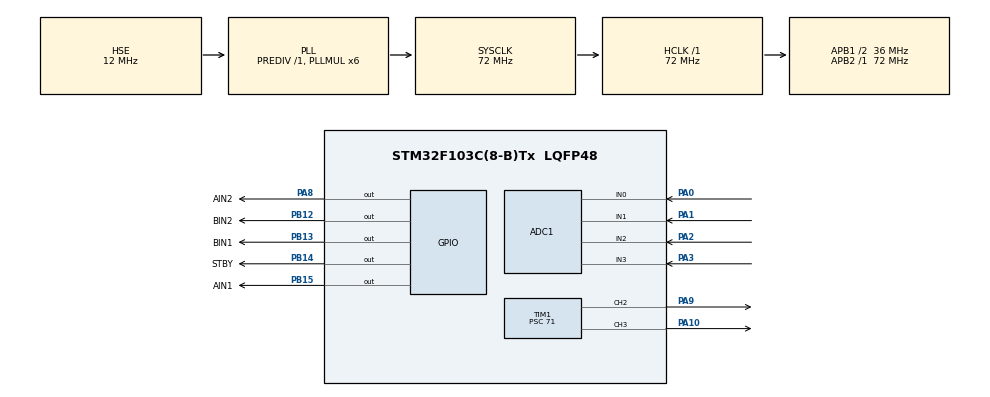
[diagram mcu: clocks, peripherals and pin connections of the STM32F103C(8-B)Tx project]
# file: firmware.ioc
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ADC1.Channel-2\#ChannelRegularConversion=ADC_CHANNEL_0
ADC1.Channel-3\#ChannelRegularConversion=ADC_CHANNEL_1
ADC1.Channel-4\#ChannelRegularConversion=ADC_CHANNEL_2
ADC1.Channel-5\#ChannelRegularConversion=ADC_CHANNEL_3
ADC1.ContinuousConvMode=DISABLE
ADC1.EnableRegularConversion=ENABLE
ADC1.NbrOfConversion=4
ADC1.NbrOfConversionFlag=1
ADC1.Rank-2\#ChannelRegularConversion=1
ADC1.Rank-3\#ChannelRegularConversion=2
ADC1.Rank-4\#ChannelRegularConversion=3
ADC1.Rank-5\#ChannelRegularConversion=4
ADC1.SamplingTime-2\#ChannelRegularConversion=ADC_SAMPLETIME_239CYCLES_5
ADC1.SamplingTime-3\#ChannelRegularConversion=ADC_SAMPLETIME_239CYCLES_5
ADC1.SamplingTime-4\#ChannelRegularConversion=ADC_SAMPLETIME_239CYCLES_5
ADC1.SamplingTime-5\#ChannelRegularConversion=ADC_SAMPLETIME_239CYCLES_5
ADC1.master=1
Dma.ADC1.0.Direction=DMA_PERIPH_TO_MEMORY
Dma.ADC1.0.Instance=DMA1_Channel1
Dma.ADC1.0.MemDataAlignment=DMA_MDATAALIGN_HALFWORD
Dma.ADC1.0.MemInc=DMA_MINC_ENABLE
Dma.ADC1.0.Mode=DMA_NORMAL
Dma.ADC1.0.PeriphDataAlignment=DMA_PDATAALIGN_HALFWORD
Dma.ADC1.0.PeriphInc=DMA_PINC_DISABLE
Dma.ADC1.0.Priority=DMA_PRIORITY_LOW
Dma.Request0=ADC1
Mcu.Family=STM32F1
Mcu.Name=STM32F103C(8-B)Tx
Mcu.Package=LQFP48
NVIC.DMA1_Channel1_IRQn=true\:0\:0\:false\:false\:true\:false\:true\:true
NVIC.PriorityGroup=NVIC_PRIORITYGROUP_4
PA0-WKUP.Signal=ADCx_IN0
PA1.Signal=ADCx_IN1
PA10.Signal=S_TIM1_CH3
PA13.Mode=Serial_Wire
PA13.Signal=SYS_JTMS-SWDIO
PA14.Mode=Serial_Wire
PA14.Signal=SYS_JTCK-SWCLK
PA2.Signal=ADCx_IN2
PA3.Signal=ADCx_IN3
PA8.GPIO_Label=AIN2
PA8.Signal=GPIO_Output
PA9.Signal=S_TIM1_CH2
PB12.GPIO_Label=BIN2
PB12.Signal=GPIO_Output
PB13.GPIO_Label=BIN1
PB13.Signal=GPIO_Output
PB14.GPIO_Label=STBY
PB14.Signal=GPIO_Output
PB15.GPIO_Label=AIN1
PB15.Signal=GPIO_Output
PD0-OSC_IN.Mode=HSE-External-Oscillator
PD0-OSC_IN.Signal=RCC_OSC_IN
PD1-OSC_OUT.Mode=HSE-External-Oscillator
PD1-OSC_OUT.Signal=RCC_OSC_OUT
ProjectManager.HeapSize=0x200
ProjectManager.StackSize=0x400
ProjectManager.TargetToolchain=Makefile
RCC.ADCPresc=RCC_ADCPCLK2_DIV8
RCC.AHBFreq_Value=72000000
RCC.APB1CLKDivider=RCC_HCLK_DIV2
RCC.APB1Freq_Value=36000000
RCC.APB1TimFreq_Value=72000000
RCC.APB2Freq_Value=72000000
RCC.APB2TimFreq_Value=72000000
RCC.HCLKFreq_Value=72000000
RCC.HSE_VALUE=12000000
RCC.PLLMUL=RCC_PLL_MUL6
RCC.PLLSourceVirtual=RCC_PLLSOURCE_HSE
RCC.SYSCLKFreq_VALUE=72000000
RCC.SYSCLKSource=RCC_SYSCLKSOURCE_PLLCLK
RCC.USBFreq_Value=48000000
RCC.USBPrescaler=RCC_USBCLKSOURCE_PLL_DIV1_5
SH.ADCx_IN0.0=ADC1_IN0,IN0
SH.ADCx_IN1.0=ADC1_IN1,IN1
SH.ADCx_IN2.0=ADC1_IN2,IN2
SH.ADCx_IN3.0=ADC1_IN3,IN3
SH.S_TIM1_CH2.0=TIM1_CH2,PWM Generation2 CH2
SH.S_TIM1_CH3.0=TIM1_CH3,PWM Generation3 CH3
TIM1.Channel-PWM\ Generation2\ CH2=TIM_CHANNEL_2
TIM1.Channel-PWM\ Generation3\ CH3=TIM_CHANNEL_3
TIM1.Period=999
TIM1.Prescaler=71
VP_ADC1_Vref_Input.Mode=IN-Vrefint
board=custom

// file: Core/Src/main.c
/* USER CODE BEGIN Header */
/**
  ******************************************************************************
  * @file           : main.c
  * @brief          : Main program body
  ******************************************************************************
  * @attention
  *
  * <h2><center>&copy; Copyright (c) 2024 STMicroelectronics.
  * All rights reserved.</center></h2>
  *
  * This software component is licensed by ST under BSD 3-Clause license,
  * the "License"; You may not use this file except in compliance with the
  * License. You may obtain a copy of the License at:
  *                        opensource.org/licenses/BSD-3-Clause
  *
  ******************************************************************************
  */
/* USER CODE END Header */
#include "main.h"
#include "adc.h"
#include "dma.h"
#include "tim.h"
#include "gpio.h"

/* USER CODE BEGIN Includes */
#include "pid.h"
/* USER CODE END Includes */

/* USER CODE BEGIN PTD */
uint16_t sen_raw[4];//光敏电阻ADC采样的数值放在该数组里
/* USER CODE END PTD */

/* USER CODE BEGIN PD */
#define AIN1_set() HAL_GPIO_WritePin(AIN1_GPIO_Port,AIN1_Pin,GPIO_PIN_SET)
#define AIN2_set() HAL_GPIO_WritePin(AIN2_GPIO_Port,AIN2_Pin,GPIO_PIN_SET)
#define BIN1_set() HAL_GPIO_WritePin(BIN1_GPIO_Port,BIN1_Pin,GPIO_PIN_SET)
#define BIN2_set() HAL_GPIO_WritePin(BIN1_GPIO_Port,BIN2_Pin,GPIO_PIN_SET)
#define AIN1_clr() HAL_GPIO_WritePin(AIN1_GPIO_Port,AIN1_Pin,GPIO_PIN_RESET)
#define AIN2_clr() HAL_GPIO_WritePin(AIN2_GPIO_Port,AIN2_Pin,GPIO_PIN_RESET)
#define BIN1_clr() HAL_GPIO_WritePin(BIN1_GPIO_Port,BIN1_Pin,GPIO_PIN_RESET)
#define BIN2_clr() HAL_GPIO_WritePin(BIN1_GPIO_Port,BIN2_Pin,GPIO_PIN_RESET)

#define TimerMaxCount 1000
/* USER CODE END PD */

void SystemClock_Config(void);

/* USER CODE BEGIN 0 */
//========================================================================
// 函数:
// 描述: 电机控制函数
// 参数: None.
// 返回: None.
//========================================================================
void motor_ctl(int16_t spd,uint8_t motorid)
{
  if (spd > TimerMaxCount) //限制最大速度
  {
    spd = TimerMaxCount;
  }

  switch (motorid)//选择哪个电机动作
  {
  case 0://俯仰电机
    if (spd < 0)
    {
      AIN1_set();//电机正转
      AIN2_clr();
    }
    else
    {
      AIN1_clr();//电机反转
      AIN2_set();
    }
    __HAL_TIM_SetCompare(&htim1,TIM_CHANNEL_2,spd);//设置电机PWM占空比
    break;
  case 1://方向电机
    if (spd < 0)
    {
      BIN1_set();//电机正转
      BIN2_clr();
    }
    else
    {
      BIN1_clr();//电机反转
      BIN2_set();
    }
    __HAL_TIM_SetCompare(&htim1,TIM_CHANNEL_3,spd);//设置电机PWM占空比
    break;
  default:
    break;
  }
}
/* USER CODE END 0 */

int main(void)
{

  /* MCU Configuration--------------------------------------------------------*/

  /* Reset of all peripherals, Initializes the Flash interface and the Systick. */
  HAL_Init();

  /* Configure the system clock */
  SystemClock_Config();

  /* Initialize all configured peripherals */
  MX_GPIO_Init();
  MX_DMA_Init();
  MX_ADC1_Init();
  MX_TIM1_Init();
  /* USER CODE BEGIN 2 */
  //启动ADC校准
  HAL_ADCEx_Calibration_Start(&hadc1);
  //设置PWM和定时器
	__HAL_TIM_SetAutoreload(&htim1,TimerMaxCount);
	__HAL_TIM_PRESCALER(&htim1,7);

	__HAL_TIM_SetCompare(&htim1,TIM_CHANNEL_2,0);
	__HAL_TIM_SetCompare(&htim1,TIM_CHANNEL_3,0);

	HAL_TIM_PWM_Start(&htim1,TIM_CHANNEL_2);
	HAL_TIM_PWM_Start(&htim1,TIM_CHANNEL_3);

  //初始化PID参数
  pid_param_Init();
  /* USER CODE END 2 */

  /* Infinite loop */
  while (1)
  {
    HAL_ADC_Start_DMA(&hadc1,sen_raw,4);//启动ADC转换
    HAL_ADC_PollForConversion(&hadc1, 20);//等待ADC转换完成，最多等20ms

    pitMotorPidSt.measured = sen_raw[0] - sen_raw[1];
    pitMotorPidSt.desired = 0;
    yawMotorPidSt.measured = sen_raw[1] - sen_raw[2];
    yawMotorPidSt.desired = 0;

    pidUpdate(&pitMotorPidSt,0.01);
    pidUpdate(&yawMotorPidSt,0.01);

    motor_ctl(pitMotorPidSt.out,0);
    motor_ctl(yawMotorPidSt.out,0);

  }
}

void SystemClock_Config(void)
{
  RCC_OscInitTypeDef RCC_OscInitStruct = {0};
  RCC_ClkInitTypeDef RCC_ClkInitStruct = {0};
  RCC_PeriphCLKInitTypeDef PeriphClkInit = {0};

  /** Initializes the RCC Oscillators according to the specified parameters
  * in the RCC_OscInitTypeDef structure.
  */
  RCC_OscInitStruct.OscillatorType = RCC_OSCILLATORTYPE_HSE;
  RCC_OscInitStruct.HSEState = RCC_HSE_ON;
  RCC_OscInitStruct.HSEPredivValue = RCC_HSE_PREDIV_DIV1;
  RCC_OscInitStruct.HSIState = RCC_HSI_ON;
  RCC_OscInitStruct.PLL.PLLState = RCC_PLL_ON;
  RCC_OscInitStruct.PLL.PLLSource = RCC_PLLSOURCE_HSE;
  RCC_OscInitStruct.PLL.PLLMUL = RCC_PLL_MUL6;
  if (HAL_RCC_OscConfig(&RCC_OscInitStruct) != HAL_OK)
  {
    Error_Handler();
  }
  /** Initializes the CPU, AHB and APB buses clocks
  */
  RCC_ClkInitStruct.ClockType = RCC_CLOCKTYPE_HCLK|RCC_CLOCKTYPE_SYSCLK
                              |RCC_CLOCKTYPE_PCLK1|RCC_CLOCKTYPE_PCLK2;
  RCC_ClkInitStruct.SYSCLKSource = RCC_SYSCLKSOURCE_PLLCLK;
  RCC_ClkInitStruct.AHBCLKDivider = RCC_SYSCLK_DIV1;
  RCC_ClkInitStruct.APB1CLKDivider = RCC_HCLK_DIV2;
  RCC_ClkInitStruct.APB2CLKDivider = RCC_HCLK_DIV1;

  if (HAL_RCC_ClockConfig(&RCC_ClkInitStruct, FLASH_LATENCY_2) != HAL_OK)
  {
    Error_Handler();
  }
  PeriphClkInit.PeriphClockSelection = RCC_PERIPHCLK_ADC;
  PeriphClkInit.AdcClockSelection = RCC_ADCPCLK2_DIV8;
  if (HAL_RCCEx_PeriphCLKConfig(&PeriphClkInit) != HAL_OK)
  {
    Error_Handler();
  }
}

void Error_Handler(void)
{
  __disable_irq();
  while (1)
  {
  }
}

/************************ (C) COPYRIGHT STMicroelectronics *****END OF FILE****/
